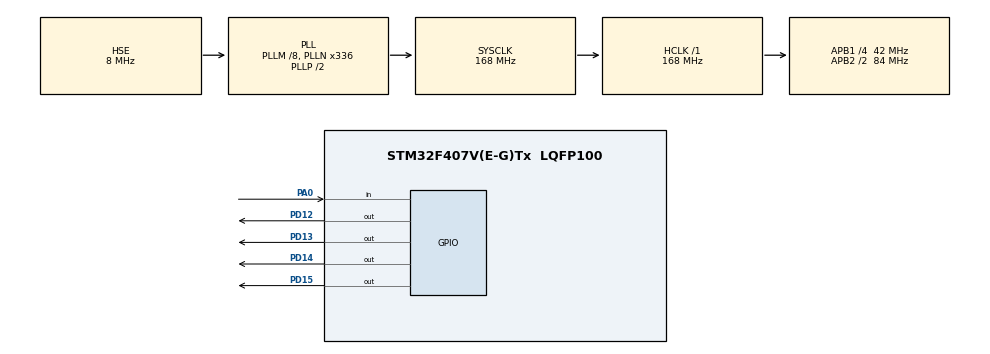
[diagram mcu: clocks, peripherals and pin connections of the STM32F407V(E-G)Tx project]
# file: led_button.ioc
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Mcu.Family=STM32F4
Mcu.Name=STM32F407V(E-G)Tx
Mcu.Package=LQFP100
NVIC.PriorityGroup=NVIC_PRIORITYGROUP_0
PA0-WKUP.GPIO_PuPd=GPIO_PULLDOWN
PA0-WKUP.Signal=GPIO_Input
PA13.Mode=Serial_Wire
PA13.Signal=SYS_JTMS-SWDIO
PA14.Mode=Serial_Wire
PA14.Signal=SYS_JTCK-SWCLK
PD12.Signal=GPIO_Output
PD13.Signal=GPIO_Output
PD14.Signal=GPIO_Output
PD15.Signal=GPIO_Output
PH0-OSC_IN.Mode=HSE-External-Oscillator
PH0-OSC_IN.Signal=RCC_OSC_IN
PH1-OSC_OUT.Mode=HSE-External-Oscillator
PH1-OSC_OUT.Signal=RCC_OSC_OUT
ProjectManager.HeapSize=0x200
ProjectManager.StackSize=0x400
ProjectManager.TargetToolchain=STM32CubeIDE
RCC.48MHZClocksFreq_Value=48000000
RCC.AHBFreq_Value=168000000
RCC.APB1CLKDivider=RCC_HCLK_DIV4
RCC.APB1Freq_Value=42000000
RCC.APB1TimFreq_Value=84000000
RCC.APB2CLKDivider=RCC_HCLK_DIV2
RCC.APB2Freq_Value=84000000
RCC.APB2TimFreq_Value=168000000
RCC.CortexFreq_Value=168000000
RCC.HCLKFreq_Value=168000000
RCC.HSE_VALUE=8000000
RCC.HSI_VALUE=16000000
RCC.PLLM=8
RCC.PLLN=336
RCC.PLLQ=7
RCC.PLLSourceVirtual=RCC_PLLSOURCE_HSE
RCC.SYSCLKFreq_VALUE=168000000
RCC.SYSCLKSource=RCC_SYSCLKSOURCE_PLLCLK
RCC.VCOOutputFreq_Value=336000000
board=STM32F407G-DISC1

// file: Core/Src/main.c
/* USER CODE BEGIN Header */
/**
  ******************************************************************************
  * @file           : main.c
  * @brief          : Main program body
  ******************************************************************************
  * @attention
  *
  * Copyright (c) 2023 STMicroelectronics.
  * All rights reserved.
  *
  * This software is licensed under terms that can be found in the LICENSE file
  * in the root directory of this software component.
  * If no LICENSE file comes with this software, it is provided AS-IS.
  *
  ******************************************************************************
  */
/* USER CODE END Header */
#include "main.h"
#include<stdio.h>
#include<stdint.h>

/* USER CODE BEGIN PD */

#define LED1_PIN                  GPIO_PIN_12
#define LED1_PORT                 GPIOD

#define LED1_ON                   HAL_GPIO_WritePin(LED1_PORT, LED1_PIN, GPIO_PIN_SET)
#define LED1_OFF                  HAL_GPIO_WritePin(LED1_PORT, LED1_PIN, GPIO_PIN_RESET)
#define LED1_TOGGLE               HAL_GPIO_TogglePin(LED1_PORT, LED1_PIN)

#define BTN_PIN                  GPIO_PIN_0
#define BTN_PORT                 GPIOA

#define BTN_READ                 HAL_GPIO_ReadPin(BTN_PORT, BTN_PIN)

/* USER CODE END PD */

/* USER CODE BEGIN PV */
int state;
uint8_t counter;
int remainder;

/* USER CODE END PV */

void SystemClock_Config(void);
static void MX_GPIO_Init(void);

int main(void)
{

  /* MCU Configuration--------------------------------------------------------*/

  /* Reset of all peripherals, Initializes the Flash interface and the Systick. */
  HAL_Init();

  /* Configure the system clock */
  SystemClock_Config();

  /* Initialize all configured peripherals */
  MX_GPIO_Init();

  /* Infinite loop */
  while (1)
  {

    /* USER CODE BEGIN 3 */

	  state = BTN_READ;

	  if(state == 0xFF)
		 counter = 0;

	  if(state){
		 counter++;
	  	 remainder = counter % 4;

	  	 if(remainder == 0)
	  		 HAL_GPIO_WritePin(GPIOD, GPIO_PIN_12 | GPIO_PIN_13 | GPIO_PIN_14 | GPIO_PIN_15, GPIO_PIN_RESET);
	  	 else if(remainder == 1)
	  		 HAL_GPIO_WritePin(GPIOD, GPIO_PIN_12, GPIO_PIN_SET);
	  	 else if(remainder == 2 )
	  		 HAL_GPIO_WritePin(GPIOD, GPIO_PIN_12 | GPIO_PIN_13, GPIO_PIN_SET);
	  	 else if(remainder == 3)
	  		 HAL_GPIO_WritePin(GPIOD, GPIO_PIN_12 | GPIO_PIN_13 | GPIO_PIN_14 , GPIO_PIN_SET);
	  	 else;

	  	 while(state) {
	  		 state = HAL_GPIO_ReadPin(GPIOA, GPIO_PIN_0); }
	  	 HAL_Delay(100);
	  }
  }
  /* USER CODE END 3 */
}

void SystemClock_Config(void)
{
  RCC_OscInitTypeDef RCC_OscInitStruct = {0};
  RCC_ClkInitTypeDef RCC_ClkInitStruct = {0};

  /** Configure the main internal regulator output voltage
  */
  __HAL_RCC_PWR_CLK_ENABLE();
  __HAL_PWR_VOLTAGESCALING_CONFIG(PWR_REGULATOR_VOLTAGE_SCALE1);

  /** Initializes the RCC Oscillators according to the specified parameters
  * in the RCC_OscInitTypeDef structure.
  */
  RCC_OscInitStruct.OscillatorType = RCC_OSCILLATORTYPE_HSE;
  RCC_OscInitStruct.HSEState = RCC_HSE_ON;
  RCC_OscInitStruct.PLL.PLLState = RCC_PLL_ON;
  RCC_OscInitStruct.PLL.PLLSource = RCC_PLLSOURCE_HSE;
  RCC_OscInitStruct.PLL.PLLM = 8;
  RCC_OscInitStruct.PLL.PLLN = 336;
  RCC_OscInitStruct.PLL.PLLP = RCC_PLLP_DIV2;
  RCC_OscInitStruct.PLL.PLLQ = 7;
  if (HAL_RCC_OscConfig(&RCC_OscInitStruct) != HAL_OK)
  {
    Error_Handler();
  }

  /** Initializes the CPU, AHB and APB buses clocks
  */
  RCC_ClkInitStruct.ClockType = RCC_CLOCKTYPE_HCLK|RCC_CLOCKTYPE_SYSCLK
                              |RCC_CLOCKTYPE_PCLK1|RCC_CLOCKTYPE_PCLK2;
  RCC_ClkInitStruct.SYSCLKSource = RCC_SYSCLKSOURCE_PLLCLK;
  RCC_ClkInitStruct.AHBCLKDivider = RCC_SYSCLK_DIV1;
  RCC_ClkInitStruct.APB1CLKDivider = RCC_HCLK_DIV4;
  RCC_ClkInitStruct.APB2CLKDivider = RCC_HCLK_DIV2;

  if (HAL_RCC_ClockConfig(&RCC_ClkInitStruct, FLASH_LATENCY_5) != HAL_OK)
  {
    Error_Handler();
  }
}

static void MX_GPIO_Init(void)
{
  GPIO_InitTypeDef GPIO_InitStruct = {0};

  /* GPIO Ports Clock Enable */
  __HAL_RCC_GPIOH_CLK_ENABLE();
  __HAL_RCC_GPIOA_CLK_ENABLE();
  __HAL_RCC_GPIOD_CLK_ENABLE();

  /*Configure GPIO pin Output Level */
  HAL_GPIO_WritePin(GPIOD, GPIO_PIN_12|GPIO_PIN_13|GPIO_PIN_14|GPIO_PIN_15, GPIO_PIN_RESET);

  /*Configure GPIO pin : PA0 */
  GPIO_InitStruct.Pin = GPIO_PIN_0;
  GPIO_InitStruct.Mode = GPIO_MODE_INPUT;
  GPIO_InitStruct.Pull = GPIO_PULLDOWN;
  HAL_GPIO_Init(GPIOA, &GPIO_InitStruct);

  /*Configure GPIO pins : PD12 PD13 PD14 PD15 */
  GPIO_InitStruct.Pin = GPIO_PIN_12|GPIO_PIN_13|GPIO_PIN_14|GPIO_PIN_15;
  GPIO_InitStruct.Mode = GPIO_MODE_OUTPUT_PP;
  GPIO_InitStruct.Pull = GPIO_NOPULL;
  GPIO_InitStruct.Speed = GPIO_SPEED_FREQ_LOW;
  HAL_GPIO_Init(GPIOD, &GPIO_InitStruct);

}

void Error_Handler(void)
{
  __disable_irq();
  while (1)
  {
  }
}
